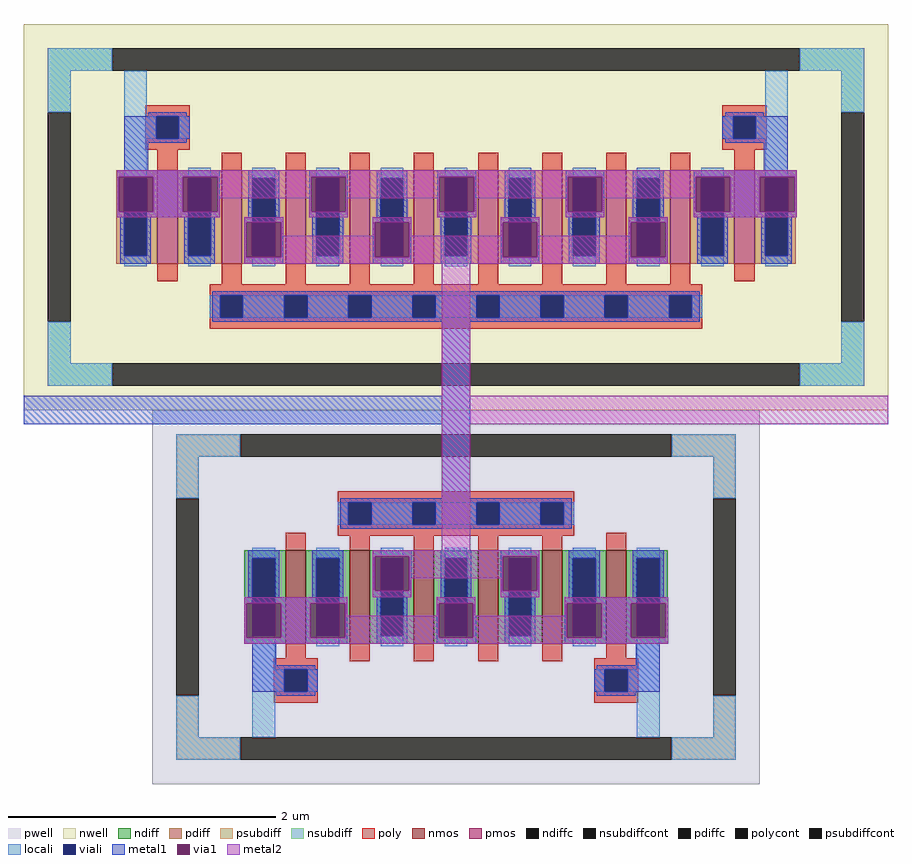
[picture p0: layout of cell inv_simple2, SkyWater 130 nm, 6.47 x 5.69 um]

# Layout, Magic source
magic
tech sky130A
magscale 1 2
<< locali >>
rect 108 306 142 455
rect 1068 306 1102 455
rect 300 -543 334 -403
rect 876 -543 910 -403
<< metal1 >>
rect 584 -32 626 85
rect -42 -74 626 -32
rect 584 -191 626 -74
<< metal2 >>
rect 584 -32 626 166
rect 584 -74 1252 -32
rect 584 -263 626 -74
use sinv2_n  sinv2_n_0
transform 1 0 605 0 1 -333
box -455 -280 455 280
use sinv2_p  sinv2_p_0
transform 1 0 605 0 1 236
box -647 -289 647 289
<< end >>

# cell sinv2_n: kit device sky130_fd_pr__nfet_01v8, w 0.7 l 0.150 m 1 nf 6 diffcov 100 polycov 100 guard 1 glc 1 grc 1 gtc 1 gbc 1 tbcov 100 rlcov 100 topc 1 botc 1 poverlap 0 doverlap 1 lmin 0.15 wmin 0.42 compatible {sky130_fd_pr__nfet_01v8 sky130_fd_pr__nfet_01v8_lvt sky130_fd_bs_flash__special_sonosfet_star sky130_fd_pr__nfet_g5v0d10v5 sky130_fd_pr__nfet_05v0_nvt sky130_fd_pr__nfet_03v3_nvt} full_metal 1 viasrc 100 viadrn 100 viagate 100 viagb 0 viagr 0 viagl 0 viagt 0

# cell sinv2_p: kit device sky130_fd_pr__pfet_01v8, w 0.7 l 0.15 m 1 nf 10 diffcov 100 polycov 100 guard 1 glc 1 grc 1 gtc 1 gbc 1 tbcov 100 rlcov 100 topc 1 botc 1 poverlap 0 doverlap 1 lmin 0.15 wmin 0.42 compatible {sky130_fd_pr__pfet_01v8 sky130_fd_pr__pfet_01v8_lvt sky130_fd_pr__pfet_01v8_hvt sky130_fd_pr__pfet_g5v0d10v5} full_metal 1 viasrc 100 viadrn 100 viagate 100 viagb 0 viagr 0 viagl 0 viagt 0
